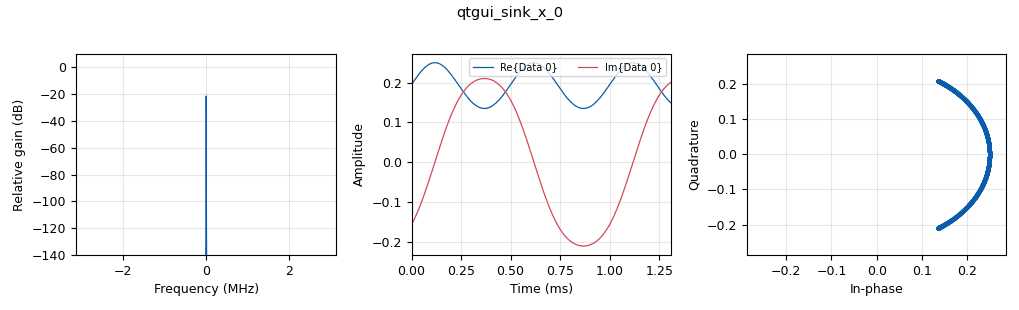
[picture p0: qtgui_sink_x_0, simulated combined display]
options:
  parameters:
    author: G2
    generate_options: qt_gui
    id: ModalucionFM
    output_language: python
    title: ModulacionFM
  states: {}

blocks:
- name: Ac
  id: variable_qtgui_range
  parameters:
    start: '0'
    step: '100E-3'
    stop: '20'
    value: '250E-3'
  states: {}
- name: Am
  id: variable_qtgui_range
  parameters:
    start: '0'
    step: '100E-3'
    stop: '20'
    value: '1'
  states: {}
- name: GTX
  id: variable_qtgui_range
  parameters:
    start: '0'
    step: '1'
    stop: '30'
    value: '0'
  states: {}
- name: fc
  id: variable_qtgui_range
  parameters:
    label: Frecuencia portadora Mhz
    start: '50'
    step: '1'
    stop: 2.2E3
    value: '200'
  states: {}
- name: fm
  id: variable_qtgui_range
  parameters:
    start: '100'
    step: '100'
    stop: 20E3
    value: 1E3
  states: {}
- name: kp
  id: variable_qtgui_range
  parameters:
    start: '0'
    step: '100E-3'
    stop: '10'
    value: '1'
  states: {}
- name: samp_rate
  id: variable
  parameters:
    value: 12.5E6/2
  states: {}
- name: analog_sig_source_x_0
  id: analog_sig_source_x
  parameters:
    amp: Am
    freq: fm
    offset: '0'
    phase: '0'
    samp_rate: samp_rate
    type: float
    waveform: analog.GR_COS_WAVE
  states: {}
- name: blocks_float_to_complex_0
  id: blocks_float_to_complex
  parameters: {}
  states: {}
- name: blocks_multiply_const_vxx_0
  id: blocks_multiply_const_vxx
  parameters:
    const: kp
    type: float
  states: {}
- name: blocks_multiply_const_vxx_0_0
  id: blocks_multiply_const_vxx
  parameters:
    const: Ac
    type: complex
  states: {}
- name: blocks_throttle2_0
  id: blocks_throttle2
  parameters:
    samples_per_second: samp_rate
    type: float
  states: {}
- name: blocks_transcendental_0
  id: blocks_transcendental
  parameters:
    name: cos
    type: float
  states: {}
- name: blocks_transcendental_0_0
  id: blocks_transcendental
  parameters:
    name: sin
    type: float
  states: {}
- name: qtgui_sink_x_0
  id: qtgui_sink_x
  parameters:
    bw: samp_rate
    fc: '0'
    fftsize: '8192'
    type: complex
  states: {}
- name: uhd_usrp_sink_0
  id: uhd_usrp_sink
  parameters:
    ant0: '"TX/RX"'
    center_freq0: fc*1E6
    gain0: GTX
    samp_rate: samp_rate
    sync: pc_clock
    type: fc32
  states: {}
- name: virtual_sink_0
  id: virtual_sink
  parameters:
    stream_id: m_t
  states: {}
- name: virtual_sink_0_0
  id: virtual_sink
  parameters:
    stream_id: g_t
  states: {}
- name: virtual_source_0
  id: virtual_source
  parameters:
    stream_id: m_t
  states: {}
- name: virtual_source_0_0
  id: virtual_source
  parameters:
    stream_id: g_t
  states: {}

connections:
- [analog_sig_source_x_0, '0', blocks_throttle2_0, '0']
- [blocks_float_to_complex_0, '0', blocks_multiply_const_vxx_0_0, '0']
- [blocks_multiply_const_vxx_0, '0', blocks_transcendental_0, '0']
- [blocks_multiply_const_vxx_0, '0', blocks_transcendental_0_0, '0']
- [blocks_multiply_const_vxx_0_0, '0', virtual_sink_0_0, '0']
- [blocks_throttle2_0, '0', virtual_sink_0, '0']
- [blocks_transcendental_0, '0', blocks_float_to_complex_0, '0']
- [blocks_transcendental_0_0, '0', blocks_float_to_complex_0, '1']
- [virtual_source_0, '0', blocks_multiply_const_vxx_0, '0']
- [virtual_source_0_0, '0', qtgui_sink_x_0, '0']
- [virtual_source_0_0, '0', uhd_usrp_sink_0, '0']

metadata:
  file_format: 1
  grc_version: v3.11.0.0git-810-g1ecb8565
